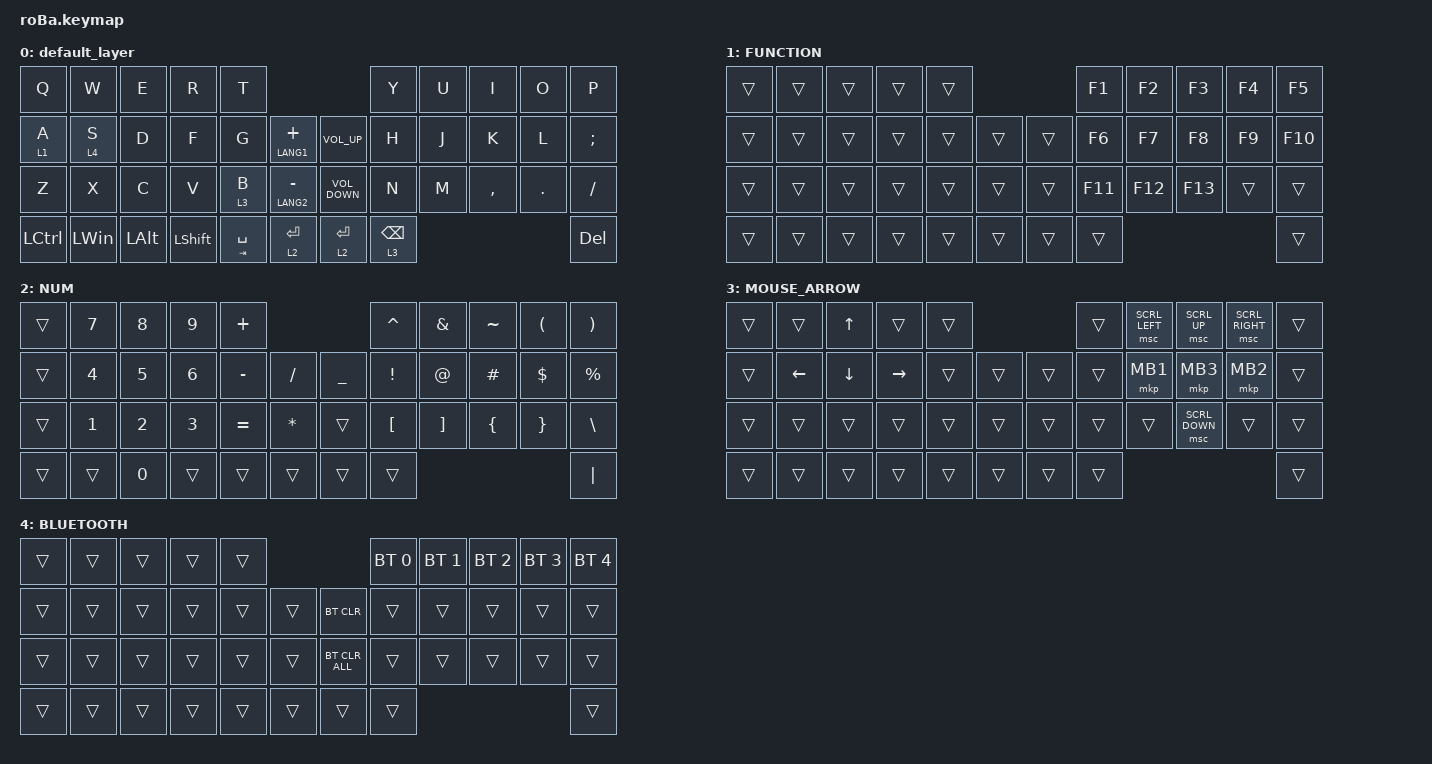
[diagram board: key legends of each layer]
#include <behaviors.dtsi>
#include <dt-bindings/zmk/bt.h>
#include <dt-bindings/zmk/keys.h>
#include <dt-bindings/zmk/pointing.h>

&trackball {
    automouse-layer = <3>;

    // scroll-layers = <5>;
    // arrows {
    //     layers = <3>;
    //     bindings =
    //         <&kp RIGHT_ARROW>,
    //         <&kp LEFT_ARROW>,
    //         <&kp UP_ARROW>,
    //         <&kp DOWN_ARROW>;
    //     tick = <10>;
    //     wait-ms = <5>;
    //     tap-ms = <5>;
    // };
};

/ {
    combos { compatible = "zmk,combos"; };

    keymap {
        compatible = "zmk,keymap";

        default_layer {
            bindings = <
&kp Q      &kp W         &kp E         &kp R           &kp T                                                  &kp Y            &kp U  &kp I      &kp O    &kp P
&lt 1 A    &lt 4 S       &kp D         &kp F           &kp G          &mt LANG1 PLUS       &kp C_VOLUME_UP    &kp H            &kp J  &kp K      &kp L    &kp SEMICOLON
&kp Z      &kp X         &kp C         &kp V           &lt 3 B        &mt LANG2 MINUS      &kp C_VOLUME_DOWN  &kp N            &kp M  &kp COMMA  &kp DOT  &kp SLASH
&kp LCTRL  &kp LEFT_WIN  &kp LEFT_ALT  &kp LEFT_SHIFT  &mt TAB SPACE  &lt 2 ENTER          &lt 2 ENTER        &lt 3 BACKSPACE                             &kp DEL
            >;
        };

        FUNCTION {
            bindings = <
&trans  &trans  &trans  &trans  &trans                      &kp F1   &kp F2   &kp F3   &kp F4  &kp F5
&trans  &trans  &trans  &trans  &trans  &trans      &trans  &kp F6   &kp F7   &kp F8   &kp F9  &kp F10
&trans  &trans  &trans  &trans  &trans  &trans      &trans  &kp F11  &kp F12  &kp F13  &trans  &trans
&trans  &trans  &trans  &trans  &trans  &trans      &trans  &trans                             &trans
            >;
        };

        NUM {
            bindings = <
&trans  &kp NUMBER_7  &kp NUMBER_8  &kp NUMBER_9  &kp PLUS                                     &kp CARET         &kp AMPERSAND      &kp TILDE       &kp LEFT_PARENTHESIS  &kp RIGHT_PARENTHESIS
&trans  &kp NUMBER_4  &kp NUMBER_5  &kp NUMBER_6  &kp MINUS  &kp SLASH         &kp UNDERSCORE  &kp EXCLAMATION   &kp AT_SIGN        &kp HASH        &kp DOLLAR            &kp PERCENT
&trans  &kp NUMBER_1  &kp NUMBER_2  &kp NUMBER_3  &kp EQUAL  &kp ASTERISK      &trans          &kp LEFT_BRACKET  &kp RIGHT_BRACKET  &kp LEFT_BRACE  &kp RIGHT_BRACE       &kp BACKSLASH
&trans  &trans        &kp NUMBER_0  &trans        &trans     &trans            &trans          &trans                                                                     &kp PIPE
            >;
        };

        MOUSE_ARROW {
            bindings = <
&trans  &trans          &kp UP_ARROW    &trans           &trans                      &trans  &msc SCRL_LEFT  &msc SCRL_UP    &msc SCRL_RIGHT  &trans
&trans  &kp LEFT_ARROW  &kp DOWN_ARROW  &kp RIGHT_ARROW  &trans  &trans      &trans  &trans  &mkp MB1        &mkp MB3        &mkp MB2         &trans
&trans  &trans          &trans          &trans           &trans  &trans      &trans  &trans  &trans          &msc SCRL_DOWN  &trans           &trans
&trans  &trans          &trans          &trans           &trans  &trans      &trans  &trans                                                   &trans
            >;
        };

        BLUETOOTH {
            bindings = <
&trans  &trans  &trans  &trans  &trans                              &bt BT_SEL 0  &bt BT_SEL 1  &bt BT_SEL 2  &bt BT_SEL 3  &bt BT_SEL 4
&trans  &trans  &trans  &trans  &trans  &trans      &bt BT_CLR      &trans        &trans        &trans        &trans        &trans
&trans  &trans  &trans  &trans  &trans  &trans      &bt BT_CLR_ALL  &trans        &trans        &trans        &trans        &trans
&trans  &trans  &trans  &trans  &trans  &trans      &trans          &trans                                                  &trans
            >;
        };
    };
};
